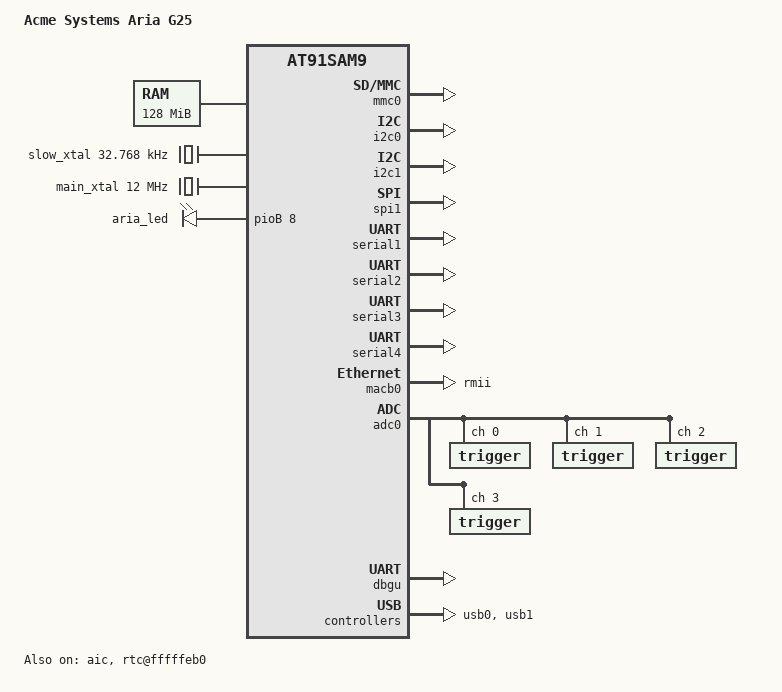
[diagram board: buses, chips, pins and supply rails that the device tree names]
/*
 * acme-aria.dts - Device Tree file for Aria G25
 *
 * by Manzoni Giovanni, thanks to all Linux comunity.
 *
 * 11/02/2016 fix rs485 sections
 * 19/11/2015 this is not full version yet.
 */
 
/dts-v1/;
#include "at91sam9g25.dtsi"

/ {
	model = "Acme Systems Aria G25";
	compatible = "acme,ariettag25", "atmel,at91sam9x5", "atmel,at91sam9";
	interrupt-parent = <&aic>;

	aliases {
		serial0 = &dbgu;
		serial1 = &usart0;
		serial2 = &usart1; // /dev/ttyS2
		serial3 = &usart2;
		serial4 = &usart3;
		serial5 = &uart0;
		serial6 = &uart1;
	};

	chosen {
		stdout-path = "serial0:115200n8";
		bootargs = "console=ttyS0,115200 root=/dev/mmcblk0p2 rw rootwait";
	};

	memory {
		/* 128 MB Aria G25 version */
		reg = <0x20000000 0x8000000>;
		/* 256 MB Aria G25 version */
		/* reg = <0x20000000 0x10000000>; */
	};

	clocks {
		slow_xtal: slow_xtal {
			compatible = "atmel,osc", "fixed-clock";
			clock-frequency = <32768>;
		};
		
		main_xtal: main_xtal { 
			compatible = "atmel,osc", "fixed-clock";
			clock-frequency = <12000000>; 
		}; 
	};

	ahb {
		compatible = "simple-bus";
                #address-cells = <1>;
                #size-cells = <1>;
                ranges;

		apb {
			compatible = "simple-bus";
                	#address-cells = <1>;
               	 	#size-cells = <1>;
                	ranges;

			// compatible ="atmel,xxx by kernel documentation";
			// reg = <register dimension>; by memory mapping in datasheet
			// interrupts = <x y z>; 
			//    x: irq number, [0..31] Advanced Interrupt Controller (AIC) 
			//    y: flags: Edge-triggered or Level-sensitive, ex. IRQ_TYPE_LEVEL_HIGH = [0..10], look at Linux/include/linux/irq.h
			//    z: priority ? if yes -> [0..7], 7 = High, 0 = Low
			// dmas <x y z>;
			//    x: DMA Controller number, ex. &dma0, &dma1
			//    y: always 1 ?? consisting of a phandle to DMA controller node, http://stackoverflow.com/questions/31095951/what-is-the-meaning-of-a-phandle-when-used-as-device-tree-node-name
			//    z: DMA Channel Number [0..15] look at datasheet section 30.3 DMA Controller Peripheral Connections
			// dma-names = "tx", "rx"; / "rxtx"; / "rx"; / "tx"; 
			// atmel,fifo-size = <xx>;  see datasheet dma section
			// pinctrl-names = "default"; or custom name, but where it will be put ?
			// clocks = <&mci0_clk>; specific peripheral clk names, see linux kernel doc
			// pinctrl-0 = < xxxxxx > for set specifics pins
			// status = "okay"; for use/enable the peripheral

			aic: interrupt-controller@fffff000 {
                                #interrupt-cells = <3>; // 3 ! cell 1: irq num; cell 2:flag; cell 3: priority.
                                compatible = "atmel,at91rm9200-aic";
                                interrupt-controller;
                                reg = <0xfffff000 0x200>;
				status = "okay";  // ? is it needed ?
				atmel,external-irqs = <31>;  // what about it ?
                        };

			mmc0: mmc@f0008000 {
				compatible = "atmel,hsmci";
				reg = <0xf0008000 0x4000>;
				interrupts = <12 IRQ_TYPE_LEVEL_HIGH 0>; 
                                dmas = <&dma0 1 AT91_DMA_CFG_PER_ID(0)>; 
                                dma-names = "rxtx";
				atmel,fifo-size = <64>;
                                pinctrl-names = "default";
                                clocks = <&mci0_clk>;
                                clock-names = "mci_clk";
                                #address-cells = <1>;
                                #size-cells = <0>;
				pinctrl-0 = <
					&pinctrl_mmc0_slot0_clk_cmd_dat0
					&pinctrl_mmc0_slot0_dat1_3>;
				status = "okay";
				slot@0 {
					reg = <0>;
					bus-width = <4>;
				};
			};

			i2c0: i2c@f8010000 {
				 compatible = "atmel,at91sam9x5-i2c";
				 reg = <0xf8010000 0x4000>;
                                 interrupts = <9 IRQ_TYPE_LEVEL_HIGH 6>; // 37.6.3
                                 dmas = <&dma0 1 AT91_DMA_CFG_PER_ID(7)>,
                                        <&dma0 1 AT91_DMA_CFG_PER_ID(8)>;
                                 dma-names = "tx", "rx";
				 atmel,fifo-size = <16>;
                                 #address-cells = <1>;
                                 #size-cells = <0>;
                                 pinctrl-names = "default";
                                 pinctrl-0 = <&pinctrl_i2c0>;
                                 clocks = <&twi0_clk>;
				 status = "okay";

				// i2c devices		
			};

			i2c1: i2c@f8014000 {
				 compatible = "atmel,at91sam9x5-i2c";
				 reg = <0xf8014000 0x4000>;
                                 interrupts = <10 IRQ_TYPE_LEVEL_HIGH 6>; // 37.6.3
                                 dmas = <&dma1 1 AT91_DMA_CFG_PER_ID(5)>,
                                        <&dma1 1 AT91_DMA_CFG_PER_ID(6)>;
                                 dma-names = "tx", "rx";
				 atmel,fifo-size = <16>;
                                 #address-cells = <1>;
                                 #size-cells = <0>;
                                 pinctrl-names = "default";
                                 pinctrl-0 = <&pinctrl_i2c1>;
                                 clocks = <&twi1_clk>;
				 status = "okay";
			};
		
			// TWD2+TCLK2 hidden behind ethernet, so no i2c2



			spi1: spi@f0004000 {
                                 #address-cells = <1>;
                                 #size-cells = <0>;
                                 compatible = "atmel,at91rm9200-spi";
                                 reg = <0xf0004000 0x100>;
                                 interrupts = <14 IRQ_TYPE_LEVEL_HIGH 3>;
                                 dmas = <&dma1 1 AT91_DMA_CFG_PER_ID(1)>,
                                        <&dma1 1 AT91_DMA_CFG_PER_ID(2)>;
                                 dma-names = "tx", "rx";
                                 pinctrl-names = "default";
                                 pinctrl-0 = <&pinctrl_spi1>;
                                 clocks = <&spi1_clk>;
                                 clock-names = "spi_clk";
                                 status = "okay";
                    	};


			serial1: serial@f801c000 {
				pinctrl-0 = <&pinctrl_usart0
					     &pinctrl_usart0_rts
					     &pinctrl_usart0_cts>;
				status = "okay";
			};

			// enable for rs232
/*
			serial2: serial@f8020000 {
				pinctrl-0 = <&pinctrl_usart1
					     // &pinctrl_usart1_rts 
					     // &pinctrl_usart1_cts 
					    >;
				status = "okay";
			};
*/
			// enable for RS485 
			serial2: serial@f8020000 { // 38.7.1   USART Control Register
				compatible = "atmel,at91sam9260-usart";
		                reg = <0xf8020000 0x4000>;
				clocks = <&usart1_clk>;
                                clock-names = "usart";
				pinctrl-0 = <&pinctrl_usart1 &pinctrl_usart1_rts &pinctrl_usart1_cts>;
				pinctrl-names = "default";
				linux,rs485-enabled-at-boot-time;
				rs485-rts-delay = <0 20>; // or <0 0> // // <a b> a for start of packet, b end of packet in milliseconds
				rs485-rts-active-high; // sets rts active high
				interrupts = <6 IRQ_TYPE_LEVEL_HIGH 5>; // = <6 4 5> // 38.5.3 Interrupt Sources
				dma-names = "tx", "rx";
				atmel,use-dma-rx;
		                atmel,use-dma-tx;
				atmel,fifo-size = <16>;
				dmas =  <&dma0 1 AT91_DMA_CFG_PER_ID(5)>,
                                        <&dma0 1 (AT91_DMA_CFG_PER_ID(6) | AT91_DMA_CFG_FIFOCFG_ASAP)>;
				status ="okay";			
			};


			serial3: serial@f8024000 {
				compatible = "atmel,at91sam9260-usart";
				reg = <0xf8024000 0x200>;
				pinctrl-0 = <&pinctrl_usart2>;
				// cannot activate RTS2+CTS2, clash with
				//  ethernet on PB0 and PB1 
				interrupts = <7 IRQ_TYPE_LEVEL_HIGH 5>;
				pinctrl-names = "default";
				status = "okay";
			};

			serial4: serial@f8028000 {
				compatible = "atmel,at91sam9260-usart";
				reg = <0xf8028000 0x200>;
				interrupts = <8 IRQ_TYPE_LEVEL_HIGH 5>;
				pinctrl-names = "default";
				pinctrl-0 = <&pinctrl_usart3
					     // &pinctrl_usart3_rts 
					     // &pinctrl_usart3_cts 
					    >;
				status = "okay";
			};

			macb0: ethernet@f802c000 {
				phy-mode = "rmii";
				local-mac-address = [00 00 00 00 00 00];
				status = "okay";
			};

			serial5: serial@f8040000 {
				status = "disabled";
			};

			serial6: serial@f8044000 {
				status = "disabled";
			};

			adc0: adc@f804c000 {
 				 status = "okay";

                                 #address-cells = <1>;
                                 #size-cells = <0>;
                                 compatible = "atmel,at91sam9x5-adc";
                                 reg = <0xf804c000 0x100>;
                                 interrupts = <19 IRQ_TYPE_LEVEL_HIGH 0>;
                                 clocks = <&adc_clk>,
                                          <&adc_op_clk>;
                                 clock-names = "adc_clk", "adc_op_clk";
                                 atmel,adc-use-external-triggers;
                                 atmel,adc-channels-used = <0xffff>;  // this
				 // atmel,adc-channels-used = <0xf>;  // or this ? 
				 // atmel,adc-num-channels = <4>;  // what about that ?
                                 atmel,adc-vref = <3300>;
                                 atmel,adc-startup-time = <40>;
                                 atmel,adc-res = <8 10>;
                                 atmel,adc-res-names = "lowres", "highres";
                                 atmel,adc-use-res = "highres";
 
                                 trigger@0 {
                                         reg = <0>;
                                         trigger-name = "external-rising";
                                         trigger-value = <0x1>;
                                         trigger-external;
                                 };
 
                                 trigger@1 {
                                         reg = <1>;
                                         trigger-name = "external-falling";
                                         trigger-value = <0x2>;
                                         trigger-external;
                                 };
 
                                 trigger@2 {
                                         reg = <2>;
                                         trigger-name = "external-any";
                                         trigger-value = <0x3>;
                                         trigger-external;
                                 };
 
                                 trigger@3 {
                                         reg = <3>;
                                         trigger-name = "continuous";
                                         trigger-value = <0x6>;
                                 };
                         };
 

			dbgu: serial@fffff200 {
				// with dma on tx and rx
				compatible = "atmel,at91sam9260-dbgu", "atmel,at91sam9260-usart";
				reg = <0xfffff200 0x200>; // Figure 5-1. SAM9G25 Memory Mapping
				interrupts = <1 IRQ_TYPE_LEVEL_HIGH 7>;
                                pinctrl-names = "default";
                                pinctrl-0 = <&pinctrl_dbgu>;
                        //        atmel,use-dma-tx;
			//	atmel,use-dma-rx;
			//	atmel,fifo-size = <16>;
			//	dmas = <&dma1 1 (AT91_DMA_CFG_PER_ID(8) | AT91_DMA_CFG_FIFOCFG_ASAP )>, //;//HALF OK, | AT91_DMA_CFG_FIFOCFG_XXXX -> as what you prefer, see datasheet
                        //               <&dma1 1 (AT91_DMA_CFG_PER_ID(9) | AT91_DMA_CFG_FIFOCFG_ASAP)>;
                        //        dma-names = "tx";
                        //        dma-names = "tx", "rx";
				clocks = <&mck>;  
                                clock-names = "usart";
				status = "okay";
			};

/* 
// see below for pin sharing with spi1
			pinctrl@fffff400 {
				w1_0 {
					pinctrl_w1_0: w1_0-0 {
						atmel,pins = <0 21 0x0 0x1>; // PA21 PIO, pull-up 
					};
				};
			};
*/

			rtc@fffffeb0 {
				compatible = "atmel,at91sam9x5-rtc";
				reg = <0xfffffeb0 0x10>;
				clocks = <&clk32k>;
				// Atmel errata without fix:  Interrupt Mask Register cannot be used
				//interrupts = <1 IRQ_TYPE_LEVEL_HIGH 7>;
				status = "okay";
			};
		};

		usb0: ohci@00600000 {
			status = "okay";
			num-ports = <3>;
		};

		usb1: ehci@00700000 {
			status = "okay";
		};
	};

	leds {
		compatible = "gpio-leds";

		/* little green LED in middle of Aria G25 module */
		aria_led {
			label = "aria_led";
			gpios = <&pioB 8 GPIO_ACTIVE_HIGH>; /* PB8 */
			linux,default-trigger = "heartbeat";
		};

	};
//now mismatch with spi1 : [    1.234375] pinctrl-at91 ahb:apb:pinctrl@fffff400: pin pioA21 already requested by f0004000.spi; cannot claim for onewire@0
// you have to change gpio with an other one.
/*	onewire@0 {
		compatible = "w1-gpio";
		gpios = <&pioA 21 GPIO_ACTIVE_LOW>;
		pinctrl-names = "default";
		pinctrl-0 = <&pinctrl_w1_0>;
	};
*/
};
